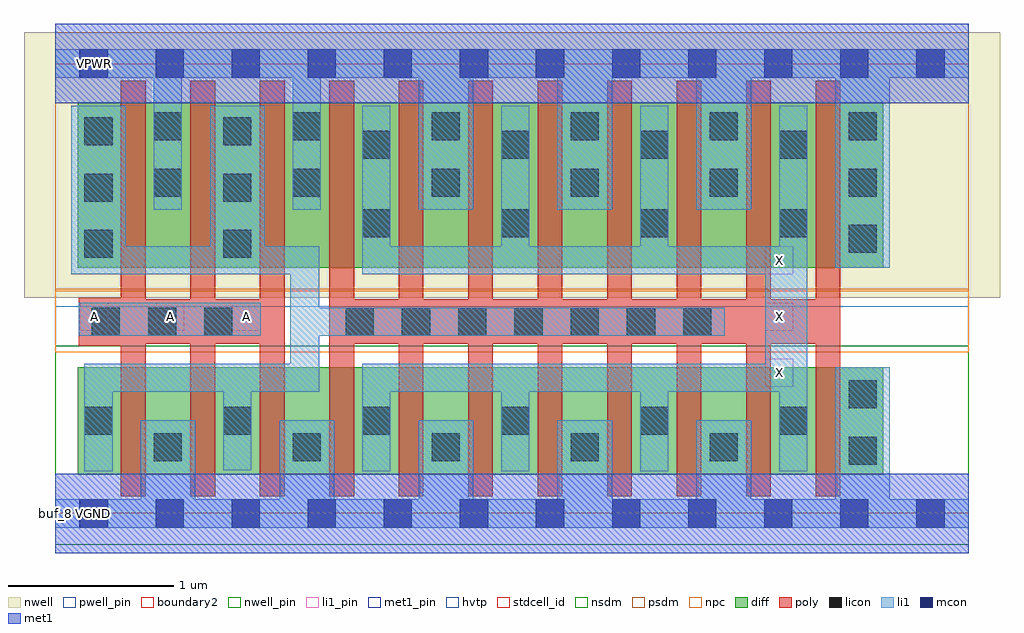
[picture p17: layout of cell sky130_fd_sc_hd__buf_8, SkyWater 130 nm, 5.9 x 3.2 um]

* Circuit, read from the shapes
.subckt sky130_fd_sc_hd__buf_8 A VGND VNB VPB VPWR X
XM1 VGND A n1 VNB sky130_fd_pr__nfet_01v8 w=0.65 l=0.15 m=3
XM2 X n1 VGND VNB sky130_fd_pr__nfet_01v8 w=0.65 l=0.15 m=8
XM3 VPWR A n1 VPB sky130_fd_pr__pfet_01v8_hvt w=1 l=0.15 m=3
XM4 X n1 VPWR VPB sky130_fd_pr__pfet_01v8_hvt w=1 l=0.15 m=8
.ends

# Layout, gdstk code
import gdstk
lib = gdstk.Library(unit=1e-6, precision=1e-09)
def R(c, l, rs):  # rectangles x0, y0, x1, y1
    for r in rs: c.add(gdstk.rectangle(r[:2], r[2:], *l))
def A(c, l, x, y, w, h, nx, ny, dx, dy):  # array of equal rectangles
    R(c, l, [(x+i*dx, y+j*dy, x+i*dx+w, y+j*dy+h) for i in range(nx) for j in range(ny)])
def P(c, l, *ps):  # polygons
    for p in ps: c.add(gdstk.Polygon(p, *l))
nwell_pin = (64, 16)
nwell = (64, 20)
diff = (65, 20)
poly = (66, 20)
licon = (66, 44)
li1_pin = (67, 16)
li1 = (67, 20)
mcon = (67, 44)
met1_pin = (68, 16)
met1 = (68, 20)
hvtp = (78, 44)
stdcell_id = (81, 4)
nsdm = (93, 44)
psdm = (94, 20)
npc = (95, 20)
pwell_pin = (122, 16)
boundary2 = (236, 0)

sky130_fd_sc_hd__buf_8 = lib.new_cell('sky130_fd_sc_hd__buf_8')
R(sky130_fd_sc_hd__buf_8, nwell_pin, [(0.15,2.635,0.32,2.805)])
R(sky130_fd_sc_hd__buf_8, nwell, [(-0.19,1.305,5.71,2.91)])
R(sky130_fd_sc_hd__buf_8, diff, [(0.135,0.235,5.005,0.885), (0.135,1.485,5.005,2.485)])
P(sky130_fd_sc_hd__buf_8, poly, [(1.385,2.615),(1.235,2.615),(1.235,1.295),(0.965,1.295),(0.965,2.615),(0.815,2.615),(0.815,1.295),(0.545,1.295),(0.545,2.615),(0.395,2.615),(0.395,1.305),(0.14,1.305),(0.14,1.015),(0.395,1.015),(0.395,0.105),(0.545,0.105),(0.545,1.025),(0.815,1.025),(0.815,0.105),(0.965,0.105),(0.965,1.025),(1.235,1.025),(1.235,0.105),(1.385,0.105)],
  [(4.745,2.615),(4.595,2.615),(4.595,1.295),(4.325,1.295),(4.325,2.615),(4.175,2.615),(4.175,1.295),(3.905,1.295),(3.905,2.615),(3.755,2.615),(3.755,1.295),(3.485,1.295),(3.485,2.615),(3.335,2.615),(3.335,1.295),(3.065,1.295),(3.065,2.615),(2.915,2.615),(2.915,1.295),(2.645,1.295),(2.645,2.615),(2.495,2.615),(2.495,1.295),(2.225,1.295),(2.225,2.615),(2.075,2.615),(2.075,1.295),(1.805,1.295),(1.805,2.615),(1.655,2.615),(1.655,0.105),(1.805,0.105),(1.805,1.025),(2.075,1.025),(2.075,0.105),(2.225,0.105),(2.225,1.025),(2.495,1.025),(2.495,0.105),(2.645,0.105),(2.645,1.025),(2.915,1.025),(2.915,0.105),(3.065,0.105),(3.065,1.025),(3.335,1.025),(3.335,0.105),(3.485,0.105),(3.485,1.025),(3.755,1.025),(3.755,0.105),(3.905,0.105),(3.905,1.025),(4.175,1.025),(4.175,0.105),(4.325,0.105),(4.325,1.025),(4.595,1.025),(4.595,0.105),(4.745,0.105)])
A(sky130_fd_sc_hd__buf_8, licon, 0.595, 0.315, 0.17, 0.17, 5, 1, 0.84, 0)
A(sky130_fd_sc_hd__buf_8, licon, 0.175, 0.475, 0.17, 0.17, 6, 1, 0.84, 0)
A(sky130_fd_sc_hd__buf_8, licon, 0.22, 1.075, 0.17, 0.17, 3, 1, 0.34, 0)
A(sky130_fd_sc_hd__buf_8, licon, 1.755, 1.075, 0.17, 0.17, 7, 1, 0.34, 0)
A(sky130_fd_sc_hd__buf_8, licon, 0.175, 1.545, 0.17, 0.17, 1, 3, 0, 0.34)
A(sky130_fd_sc_hd__buf_8, licon, 1.015, 1.545, 0.17, 0.17, 1, 3, 0, 0.34)
A(sky130_fd_sc_hd__buf_8, licon, 1.855, 1.67, 0.17, 0.17, 4, 2, 0.84, 0.475)
A(sky130_fd_sc_hd__buf_8, licon, 0.595, 1.915, 0.17, 0.17, 6, 2, 0.84, 0.34)
R(sky130_fd_sc_hd__buf_8, licon, [(4.795,0.295,4.965,0.465), (4.795,0.635,4.965,0.805), (4.795,1.575,4.965,1.745)])
A(sky130_fd_sc_hd__buf_8, li1_pin, 4.29, 0.765, 0.17, 0.17, 1, 3, 0, 0.34)
A(sky130_fd_sc_hd__buf_8, li1_pin, 0.15, 1.105, 0.17, 0.17, 3, 1, 0.46, 0)
R(sky130_fd_sc_hd__buf_8, li1_pin, [(0.15,-0.085,0.32,0.085), (0.15,2.635,0.32,2.805)])
R(sky130_fd_sc_hd__buf_8, li1, [(0.14,1.075,1.24,1.275)])
P(sky130_fd_sc_hd__buf_8, li1, [(4.045,1.245),(1.595,1.245),(1.595,1.615),(1.265,1.615),(1.265,2.465),(0.935,2.465),(0.935,1.615),(0.425,1.615),(0.425,2.465),(0.095,2.465),(0.095,1.445),(1.42,1.445),(1.42,0.905),(0.175,0.905),(0.175,0.255),(0.345,0.255),(0.345,0.735),(1.015,0.735),(1.015,0.26),(1.185,0.26),(1.185,0.735),(1.595,0.735),(1.595,1.075),(4.045,1.075)],
  [(5.52,0.085),(5.045,0.085),(5.045,0.885),(4.715,0.885),(4.715,0.085),(4.205,0.085),(4.205,0.565),(3.875,0.565),(3.875,0.085),(3.365,0.085),(3.365,0.565),(3.035,0.565),(3.035,0.085),(2.525,0.085),(2.525,0.565),(2.195,0.565),(2.195,0.085),(1.685,0.085),(1.685,0.565),(1.355,0.565),(1.355,0.085),(0.845,0.085),(0.845,0.565),(0.515,0.565),(0.515,0.085),(0,0.085),(0,-0.085),(5.52,-0.085)],
  [(5.52,2.805),(0,2.805),(0,2.635),(0.595,2.635),(0.595,1.835),(0.765,1.835),(0.765,2.635),(1.435,2.635),(1.435,1.835),(1.605,1.835),(1.605,2.635),(2.195,2.635),(2.195,1.835),(2.525,1.835),(2.525,2.635),(3.035,2.635),(3.035,1.835),(3.365,1.835),(3.365,2.635),(3.875,2.635),(3.875,1.835),(4.205,1.835),(4.205,2.635),(4.715,2.635),(4.715,1.485),(5.045,1.485),(5.045,2.635),(5.52,2.635)],
  [(4.545,2.465),(4.375,2.465),(4.375,1.615),(3.705,1.615),(3.705,2.465),(3.535,2.465),(3.535,1.615),(2.865,1.615),(2.865,2.465),(2.695,2.465),(2.695,1.615),(2.025,1.615),(2.025,2.465),(1.855,2.465),(1.855,1.445),(4.29,1.445),(4.29,0.905),(1.855,0.905),(1.855,0.255),(2.025,0.255),(2.025,0.735),(2.695,0.735),(2.695,0.255),(2.865,0.255),(2.865,0.735),(3.535,0.735),(3.535,0.255),(3.705,0.255),(3.705,0.735),(4.375,0.735),(4.375,0.255),(4.545,0.255)])
A(sky130_fd_sc_hd__buf_8, mcon, 0.145, -0.085, 0.17, 0.17, 12, 2, 0.46, 2.72)
R(sky130_fd_sc_hd__buf_8, met1_pin, [(0.15,-0.085,0.32,0.085), (0.15,2.635,0.32,2.805)])
R(sky130_fd_sc_hd__buf_8, hvtp, [(0,1.25,5.52,2.72)])
R(sky130_fd_sc_hd__buf_8, stdcell_id, [(0,0,5.52,2.72)])
R(sky130_fd_sc_hd__buf_8, nsdm, [(0,-0.19,5.52,1.015)])
R(sky130_fd_sc_hd__buf_8, psdm, [(0,1.355,5.52,2.91)])
R(sky130_fd_sc_hd__buf_8, npc, [(0,0.975,5.52,1.345)])
R(sky130_fd_sc_hd__buf_8, pwell_pin, [(0.15,-0.085,0.32,0.085)])
R(sky130_fd_sc_hd__buf_8, boundary2, [(0,0,5.52,2.72)])
sky130_fd_sc_hd__buf_8.add(gdstk.FlexPath([(0,2.72),(5.52,2.72)], 0.48, ends="flush", simple_path=True, layer=68, datatype=20))  # met1
sky130_fd_sc_hd__buf_8.add(gdstk.FlexPath([(0,0),(5.52,0)], 0.48, ends="flush", simple_path=True, layer=68, datatype=20))  # met1
sky130_fd_sc_hd__buf_8.add(gdstk.Label('A', (1.155,1.19), layer=67, texttype=5))
sky130_fd_sc_hd__buf_8.add(gdstk.Label('X', (4.375,0.85), layer=67, texttype=5))
sky130_fd_sc_hd__buf_8.add(gdstk.Label('X', (4.375,1.19), layer=67, texttype=5))
sky130_fd_sc_hd__buf_8.add(gdstk.Label('A', (0.695,1.19), layer=67, texttype=5))
sky130_fd_sc_hd__buf_8.add(gdstk.Label('VGND', (0.23,0), layer=67, texttype=5))
sky130_fd_sc_hd__buf_8.add(gdstk.Label('VPWR', (0.235,2.72), layer=67, texttype=5))
sky130_fd_sc_hd__buf_8.add(gdstk.Label('X', (4.375,1.53), layer=67, texttype=5))
sky130_fd_sc_hd__buf_8.add(gdstk.Label('A', (0.235,1.19), layer=67, texttype=5))
sky130_fd_sc_hd__buf_8.add(gdstk.Label('VPB', (0.235,2.72), layer=64, texttype=5))
sky130_fd_sc_hd__buf_8.add(gdstk.Label('VNB', (0.235,0), layer=64, texttype=59))
sky130_fd_sc_hd__buf_8.add(gdstk.Label('VGND', (0.23,0), layer=68, texttype=5))
sky130_fd_sc_hd__buf_8.add(gdstk.Label('VPWR', (0.235,2.72), layer=68, texttype=5))
sky130_fd_sc_hd__buf_8.add(gdstk.Label('buf_8', (0,0), layer=83, texttype=44))

lib.write_gds('sky130_fd_sc_hd__buf_8.gds')
